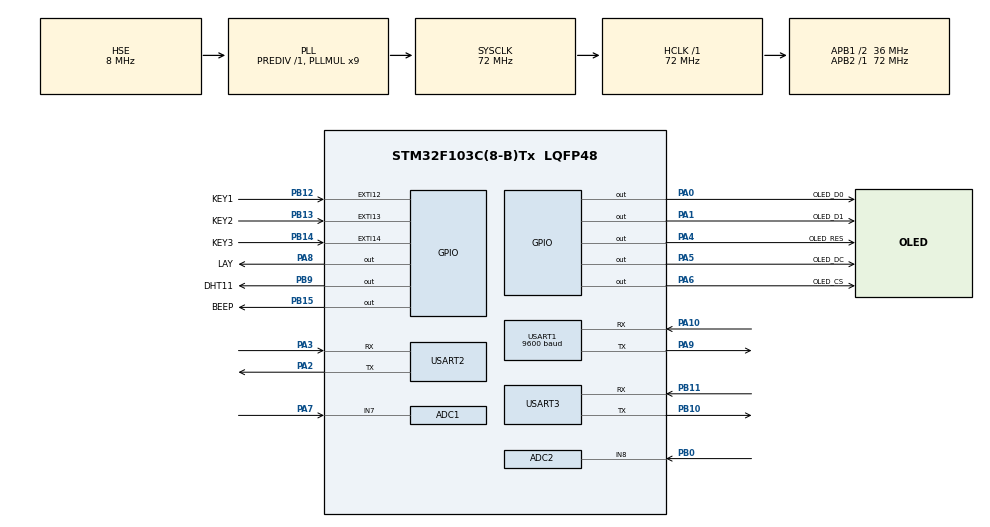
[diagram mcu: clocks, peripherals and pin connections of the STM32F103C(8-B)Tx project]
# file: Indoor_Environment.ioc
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ADC1.Channel-1\#ChannelRegularConversion=ADC_CHANNEL_7
ADC1.NbrOfConversionFlag=1
ADC1.Rank-1\#ChannelRegularConversion=1
ADC1.SamplingTime-1\#ChannelRegularConversion=ADC_SAMPLETIME_1CYCLE_5
ADC1.master=1
ADC2.Channel-0\#ChannelRegularConversion=ADC_CHANNEL_8
ADC2.NbrOfConversionFlag=1
ADC2.Rank-0\#ChannelRegularConversion=1
ADC2.SamplingTime-0\#ChannelRegularConversion=ADC_SAMPLETIME_1CYCLE_5
Dma.Request0=USART1_RX
Dma.USART1_RX.0.Direction=DMA_PERIPH_TO_MEMORY
Dma.USART1_RX.0.Instance=DMA1_Channel5
Dma.USART1_RX.0.MemDataAlignment=DMA_MDATAALIGN_BYTE
Dma.USART1_RX.0.MemInc=DMA_MINC_ENABLE
Dma.USART1_RX.0.Mode=DMA_NORMAL
Dma.USART1_RX.0.PeriphDataAlignment=DMA_PDATAALIGN_BYTE
Dma.USART1_RX.0.PeriphInc=DMA_PINC_DISABLE
Dma.USART1_RX.0.Priority=DMA_PRIORITY_LOW
Mcu.Family=STM32F1
Mcu.Name=STM32F103C(8-B)Tx
Mcu.Package=LQFP48
NVIC.DMA1_Channel5_IRQn=true\:0\:0\:false\:false\:true\:false\:true\:true
NVIC.EXTI15_10_IRQn=true\:0\:0\:false\:false\:true\:true\:true\:true
NVIC.PriorityGroup=NVIC_PRIORITYGROUP_4
NVIC.USART1_IRQn=true\:0\:0\:false\:false\:true\:true\:true\:true
PA0-WKUP.GPIO_Label=OLED_D0
PA0-WKUP.GPIO_ModeDefaultOutputPP=GPIO_MODE_OUTPUT_PP
PA0-WKUP.GPIO_PuPd=GPIO_PULLUP
PA0-WKUP.GPIO_Speed=GPIO_SPEED_FREQ_HIGH
PA0-WKUP.PinState=GPIO_PIN_SET
PA0-WKUP.Signal=GPIO_Output
PA1.GPIO_Label=OLED_D1
PA1.GPIO_ModeDefaultOutputPP=GPIO_MODE_OUTPUT_PP
PA1.GPIO_PuPd=GPIO_PULLUP
PA1.GPIO_Speed=GPIO_SPEED_FREQ_HIGH
PA1.PinState=GPIO_PIN_SET
PA1.Signal=GPIO_Output
PA10.Mode=Asynchronous
PA10.Signal=USART1_RX
PA13.Mode=Serial_Wire
PA13.Signal=SYS_JTMS-SWDIO
PA14.Mode=Serial_Wire
PA14.Signal=SYS_JTCK-SWCLK
PA2.Mode=Asynchronous
PA2.Signal=USART2_TX
PA3.Mode=Asynchronous
PA3.Signal=USART2_RX
PA4.GPIO_Label=OLED_RES
PA4.GPIO_PuPd=GPIO_PULLUP
PA4.GPIO_Speed=GPIO_SPEED_FREQ_HIGH
PA4.PinState=GPIO_PIN_SET
PA4.Signal=GPIO_Output
PA5.GPIO_Label=OLED_DC
PA5.GPIO_PuPd=GPIO_PULLUP
PA5.GPIO_Speed=GPIO_SPEED_FREQ_HIGH
PA5.Signal=GPIO_Output
PA6.GPIO_Label=OLED_CS
PA6.GPIO_ModeDefaultOutputPP=GPIO_MODE_OUTPUT_PP
PA6.GPIO_PuPd=GPIO_PULLUP
PA6.GPIO_Speed=GPIO_SPEED_FREQ_HIGH
PA6.PinState=GPIO_PIN_SET
PA6.Signal=GPIO_Output
PA7.Signal=ADCx_IN7
PA8.GPIO_Label=LAY
PA8.GPIO_ModeDefaultOutputPP=GPIO_MODE_OUTPUT_PP
PA8.GPIO_PuPd=GPIO_PULLUP
PA8.GPIO_Speed=GPIO_SPEED_FREQ_HIGH
PA8.PinState=GPIO_PIN_SET
PA8.Signal=GPIO_Output
PA9.Mode=Asynchronous
PA9.Signal=USART1_TX
PB0.Signal=ADCx_IN8
PB10.Mode=Asynchronous
PB10.Signal=USART3_TX
PB11.Mode=Asynchronous
PB11.Signal=USART3_RX
PB12.GPIO_Label=KEY1
PB12.GPIO_ModeDefaultEXTI=GPIO_MODE_IT_FALLING
PB12.GPIO_PuPd=GPIO_PULLUP
PB12.Signal=GPXTI12
PB13.GPIO_Label=KEY2
PB13.GPIO_ModeDefaultEXTI=GPIO_MODE_IT_FALLING
PB13.GPIO_PuPd=GPIO_PULLUP
PB13.Signal=GPXTI13
PB14.GPIO_Label=KEY3
PB14.GPIO_ModeDefaultEXTI=GPIO_MODE_IT_FALLING
PB14.GPIO_PuPd=GPIO_PULLUP
PB14.Signal=GPXTI14
PB15.GPIO_Label=BEEP
PB15.GPIO_ModeDefaultOutputPP=GPIO_MODE_OUTPUT_PP
PB15.GPIO_PuPd=GPIO_PULLUP
PB15.GPIO_Speed=GPIO_SPEED_FREQ_HIGH
PB15.PinState=GPIO_PIN_SET
PB15.Signal=GPIO_Output
PB9.GPIO_Label=DHT11
PB9.GPIO_ModeDefaultOutputPP=GPIO_MODE_OUTPUT_PP
PB9.GPIO_PuPd=GPIO_PULLUP
PB9.GPIO_Speed=GPIO_SPEED_FREQ_HIGH
PB9.PinState=GPIO_PIN_SET
PB9.Signal=GPIO_Output
PD0-OSC_IN.Mode=HSE-External-Oscillator
PD0-OSC_IN.Signal=RCC_OSC_IN
PD1-OSC_OUT.Mode=HSE-External-Oscillator
PD1-OSC_OUT.Signal=RCC_OSC_OUT
ProjectManager.HeapSize=0x200
ProjectManager.StackSize=0x400
ProjectManager.TargetToolchain=MDK-ARM V5
RCC.ADCPresc=RCC_ADCPCLK2_DIV6
RCC.AHBFreq_Value=72000000
RCC.APB1CLKDivider=RCC_HCLK_DIV2
RCC.APB1Freq_Value=36000000
RCC.APB1TimFreq_Value=72000000
RCC.APB2Freq_Value=72000000
RCC.APB2TimFreq_Value=72000000
RCC.HCLKFreq_Value=72000000
RCC.PLLMUL=RCC_PLL_MUL9
RCC.PLLSourceVirtual=RCC_PLLSOURCE_HSE
RCC.SYSCLKFreq_VALUE=72000000
RCC.SYSCLKSource=RCC_SYSCLKSOURCE_PLLCLK
RCC.USBFreq_Value=72000000
SH.ADCx_IN7.0=ADC1_IN7,IN7
SH.ADCx_IN8.0=ADC2_IN8,IN8
USART1.BaudRate=9600
USART1.VirtualMode=VM_ASYNC
USART2.VirtualMode=VM_ASYNC
USART3.VirtualMode=VM_ASYNC
board=custom

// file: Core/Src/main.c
/* USER CODE BEGIN Header */
/**
  ******************************************************************************
  * @file           : main.c
  * @brief          : Main program body
  ******************************************************************************
  * @attention
  *
  * Copyright (c) 2025 STMicroelectronics.
  * All rights reserved.
  *
  * This software is licensed under terms that can be found in the LICENSE file
  * in the root directory of this software component.
  * If no LICENSE file comes with this software, it is provided AS-IS.
  *
  ******************************************************************************
  */
/* USER CODE END Header */
#include "main.h"
#include "adc.h"
#include "dma.h"
#include "usart.h"
#include "gpio.h"

/* USER CODE BEGIN Includes */
#include "oled.h"
#include "DHT11.h"
#include "string.h"
/* USER CODE END Includes */

/* USER CODE BEGIN PTD */
uint8_t danger_data[9]={0xFD,0x00,0x06,0x01,0x01,0xCE,0xA3,0xCF,0xD5};
int rh_ban=60,th_ban=30,co2_ban=800;
float fire_ban=2.0,gas_ban=1.0;
/* USER CODE END PTD */

/* USER CODE BEGIN PD */
void ui_setting(void);
/* USER CODE END PD */

void SystemClock_Config(void);

int main(void)
{

  /* USER CODE BEGIN 1 */
  float fire_fl,smoke_f1;
	uint16_t fire_16 = 0,smoke_16 = 0;
	char huoguang[20],smoke[20];
	int dht11_ret=0;
  /* USER CODE END 1 */

  /* MCU Configuration--------------------------------------------------------*/

  /* Reset of all peripherals, Initializes the Flash interface and the Systick. */
  HAL_Init();

  /* Configure the system clock */
  SystemClock_Config();

  /* Initialize all configured peripherals */
  MX_GPIO_Init();
  MX_DMA_Init();
  MX_ADC1_Init();
  MX_ADC2_Init();
  MX_USART1_UART_Init();
  MX_USART2_UART_Init();
  MX_USART3_UART_Init();
  /* USER CODE BEGIN 2 */
	OLED_Init();
	OLED_ColorTurn(0);
  OLED_DisplayTurn(0);
	OLED_Clear();

  /* USER CODE END 2 */

  /* Infinite loop */
  while (1)
  {

    /* USER CODE BEGIN 3 */
		dht11_ret = DHT11_READ_DATA();
		HAL_ADC_Start(&hadc1);     //read fire
		HAL_ADC_PollForConversion(&hadc1,10);
		fire_16 = (uint16_t)HAL_ADC_GetValue(&hadc1);
		fire_fl = (float)fire_16*3.3/4096;
		sprintf(huoguang,"Fire:%.2f",fire_fl);
		OLED_ShowString(0,16,(uint8_t*)huoguang,16,1);
		OLED_Refresh();

		HAL_ADC_Start(&hadc2);     //read fire
		HAL_ADC_PollForConversion(&hadc2,10);
		smoke_16 = (uint16_t)HAL_ADC_GetValue(&hadc2);
		smoke_f1 = (float)smoke_16*3.3/4096;
		sprintf(smoke,"Gas:%.2f",smoke_f1);
		OLED_ShowString(0,32,(uint8_t*)smoke,16,1);
		OLED_Refresh();

		if((fire_fl<fire_ban)||(smoke_f1>gas_ban))
		{
			 HAL_UART_Transmit(&huart2,danger_data,9,0xffff);
				uart3_send_messageCALL();
		}

		if(rx1_end_flag)
		{
			 rx1_end_flag =false;

        if(uart1_rx[5]==((uart1_rx[0]+uart1_rx[1]+uart1_rx[2]+uart1_rx[3]+uart1_rx[4])&0xff))
				{
					sprintf(huoguang,"CO2:%d ppm",uart1_rx[1]*256+uart1_rx[2]);
					OLED_ShowString(0,48,(uint8_t*)huoguang,16,1);
				  OLED_Refresh();
					if((uart1_rx[1]*256+uart1_rx[2]>co2_ban)||(dht11_ret==1))
					{
							lay_control(true);
						  beep_control(true);
					}
					else
					{
							lay_control(false);
						  beep_control(false);
					}

				}

				rx1_count=0;
				memset(uart1_rx,0,20);
				HAL_UART_Receive_DMA(&huart1,uart1_rx,20);  //��Ҫ��������DMA
		}

		if(botton == RIGHT)
		{
				HAL_Delay(100);
			botton = UNPRESS;
			  OLED_Clear();
				ui_setting();
		}
  }
  /* USER CODE END 3 */
}

void SystemClock_Config(void)
{
  RCC_OscInitTypeDef RCC_OscInitStruct = {0};
  RCC_ClkInitTypeDef RCC_ClkInitStruct = {0};
  RCC_PeriphCLKInitTypeDef PeriphClkInit = {0};

  /** Initializes the RCC Oscillators according to the specified parameters
  * in the RCC_OscInitTypeDef structure.
  */
  RCC_OscInitStruct.OscillatorType = RCC_OSCILLATORTYPE_HSE;
  RCC_OscInitStruct.HSEState = RCC_HSE_ON;
  RCC_OscInitStruct.HSEPredivValue = RCC_HSE_PREDIV_DIV1;
  RCC_OscInitStruct.HSIState = RCC_HSI_ON;
  RCC_OscInitStruct.PLL.PLLState = RCC_PLL_ON;
  RCC_OscInitStruct.PLL.PLLSource = RCC_PLLSOURCE_HSE;
  RCC_OscInitStruct.PLL.PLLMUL = RCC_PLL_MUL9;
  if (HAL_RCC_OscConfig(&RCC_OscInitStruct) != HAL_OK)
  {
    Error_Handler();
  }

  /** Initializes the CPU, AHB and APB buses clocks
  */
  RCC_ClkInitStruct.ClockType = RCC_CLOCKTYPE_HCLK|RCC_CLOCKTYPE_SYSCLK
                              |RCC_CLOCKTYPE_PCLK1|RCC_CLOCKTYPE_PCLK2;
  RCC_ClkInitStruct.SYSCLKSource = RCC_SYSCLKSOURCE_PLLCLK;
  RCC_ClkInitStruct.AHBCLKDivider = RCC_SYSCLK_DIV1;
  RCC_ClkInitStruct.APB1CLKDivider = RCC_HCLK_DIV2;
  RCC_ClkInitStruct.APB2CLKDivider = RCC_HCLK_DIV1;

  if (HAL_RCC_ClockConfig(&RCC_ClkInitStruct, FLASH_LATENCY_2) != HAL_OK)
  {
    Error_Handler();
  }
  PeriphClkInit.PeriphClockSelection = RCC_PERIPHCLK_ADC;
  PeriphClkInit.AdcClockSelection = RCC_ADCPCLK2_DIV6;
  if (HAL_RCCEx_PeriphCLKConfig(&PeriphClkInit) != HAL_OK)
  {
    Error_Handler();
  }
}

/* USER CODE BEGIN 4 */

void ui_setting(void)
{
	 int position=0;
	 char chow1[20],chow2[20],chow3[20],chow4[20],chow5[20];
							OLED_ShowString(20,0,(uint8_t*)"Setting",16,1);
				  OLED_Refresh();
	while(1)
	{
				sprintf(chow1,"RH:%02d",rh_ban);
				OLED_ShowString(0,16,(uint8_t*)chow1,8,position==0?0:1);

		    sprintf(chow2,"TH:%02d",th_ban);
				OLED_ShowString(70,16,(uint8_t*)chow2,8,position==1?0:1);

		    sprintf(chow3,"Fire:%0.1f",fire_ban);
				OLED_ShowString(0,32,(uint8_t*)chow3,8,position==2?0:1);

		    sprintf(chow4,"Gas:%0.1f",gas_ban);
				OLED_ShowString(70,32,(uint8_t*)chow4,8,position==3?0:1);

		    sprintf(chow5,"CO2:%03d",co2_ban);
				OLED_ShowString(0,48,(uint8_t*)chow5,8,position==4?0:1);

				OLED_ShowString(70,48,(uint8_t*)"BACK",8,position==5?0:1);
				OLED_Refresh();

				if(botton == RIGHT)
				{
					HAL_Delay(100);
					botton = UNPRESS;
					position++;
					if(position>5)
					{
							position=0;
					}
				}

				if(botton == LEFT)
				{
					HAL_Delay(100);
					botton = UNPRESS;
					switch(position)
					{
						case 0:
							  rh_ban--;
						    if(rh_ban<0)
									rh_ban=99;
							break;
						case 1:
							  th_ban--;
						    if(th_ban<0)
									th_ban=99;
							break;
						case 2:
							  fire_ban=fire_ban-0.1;
						    if(fire_ban<0)
									fire_ban=3.0;
							break;
						case 3:
							  gas_ban=gas_ban-0.1;
						    if(gas_ban<0)
									gas_ban=3.0;
							break;
						case 4:
							  co2_ban=co2_ban-10;
						    if(co2_ban<400)
									co2_ban=900;
							break;
					}
				}

				if(botton == MIDLE)
				{
					HAL_Delay(100);
					botton = UNPRESS;
					switch(position)
					{
						case 0:
							  rh_ban++;
						    if(rh_ban>99)
									rh_ban=0;
							break;
						case 1:
							  th_ban++;
						    if(th_ban>99)
									th_ban=0;
							break;
						case 2:
							  fire_ban=fire_ban+0.1;
						    if(fire_ban>3.0)
									fire_ban=0;
							break;
						case 3:
							  gas_ban=gas_ban+0.1;
						    if(gas_ban>3.0)
									gas_ban=0;
							break;
						case 4:
							  co2_ban=co2_ban+10;
						    if(co2_ban>900)
									co2_ban=400;
							break;
						case 5:
								OLED_Clear();
								return;
							break;
					}
				}
	}
}
/* USER CODE END 4 */

void Error_Handler(void)
{
  __disable_irq();
  while (1)
  {
  }
}
